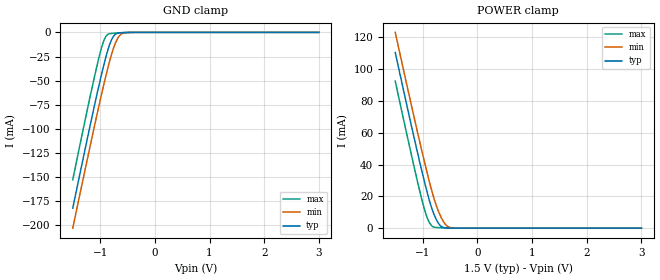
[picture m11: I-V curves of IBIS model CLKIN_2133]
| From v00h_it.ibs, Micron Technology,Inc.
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| MODEL CLKIN_2133 (Clock Input Model, 2133Mbps)
[Model]   CLKIN_2133
Model_type   Input
Vinl = 615.000mV
Vinh = 885.000mV
|   typ   min   max
|C_comp   0.508pF   0.433pF   0.583pF
C_comp_power_clamp   0.2540pF   0.2165pF   0.2915pF
C_comp_gnd_clamp   0.2540pF   0.2165pF   0.2915pF
[Model Spec]
| Input threshold voltage corners
Vinl   0.6150V   0.5775V   0.6525V
Vinh   0.8850V   0.8475V   0.9225V
| Dynamic Overshoot Parameters from DDR3 Specification
|D_overshoot_ampl_h   0.40   NA   NA
|D_overshoot_ampl_l   0.40   NA   NA
|D_overshoot_area_h   0.10n   NA   NA
|D_overshoot_area_l   0.10n   NA   NA
[Receiver Thresholds]
|Vth   =  0.750V
|Vth_min  =  0.7350V
|Vth_max  =  0.7650V
|Vinh_ac  =  0.135V
|Vinh_dc  =  0.100V
|Vinl_ac  = -0.135V
|Vinl_dc  = -0.100V
|Tslew_ac =  5.000ns |Not specified, so set to high value
|Threshold_sensitivity = 0.50
|Reference_supply Power_clamp_ref
|NOTE: If using the IBISCHK 4.2.1 or older parser, Differential receiver
|threshold parameters must be commented out because the parser generates
|errors for multiple differential models.
Vcross_low   = 0.615V
Vcross_high  = 0.885V
Vdiff_ac   = 270mV
Vdiff_dc   = 200mV
Tdiffslew_ac = 10.000ns |Not specified, so set to high value
[Voltage Range]   1.5000V   1.4250V   1.5750V
[POWER Clamp Reference]   1.5000V   1.4250V   1.5750V
| Junction Temperature (Ambient temp is 35C typ, 95C min, -40C max)
[Temperature Range]   50.0   110.0   -40.0
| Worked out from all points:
|   GND clamp passes 1 mA (typ) near -0.69 V on its own axis
|   POWER clamp passes 1 mA (typ) near -0.66 V on its own axis
[GND Clamp]
|   Voltage   I(typ)   I(min)   I(max)
-1.5V     -182.1mA   -202.8mA   -152.7mA
-1.19V    -98.47mA   -119.8mA   -68.37mA
-1.03V    -57.24mA   -78.27mA   -27.97mA
-970mV    -42.58mA   -63.1mA    -15.05mA
-930mV    -33.38mA   -53.57mA   -8.175mA
-895mV    -25.67mA   -45.23mA   -4.168mA
-830mV    -13.24mA   -30.63mA   -1.466mA
-790mV    -7.525mA   -22.55mA   -1.097mA
-705mV    -1.45mA    -8.993mA   -698.7uA
-625mV    -392.7uA   -2.248mA   -404.3uA
-405mV    -27.61uA   -35.82uA   -23.42uA
3V        0A         0A         0A
[POWER Clamp]
|   Voltage   I(typ)   I(min)   I(max)
-1.5V     110.4mA    123.1mA    92.42mA
-1.1V     48.58mA    61.35mA    30.18mA
-975mV    30.4mA     42.92mA    12.89mA
-930mV    24.28mA    36.65mA    7.857mA
-895mV    19.72mA    31.79mA    4.832mA
-840mV    13.31mA    24.46mA    1.667mA
-750mV    5.384mA    14.24mA    416.6uA
-710mV    2.992mA    10.57mA    314.9uA
-650mV    844.6uA    6.024mA    210.2uA
-550mV    116.2uA    1.218mA    89.31uA
-370mV    13.19uA    21.63uA    9.41uA
3V        0A         0A         0A
